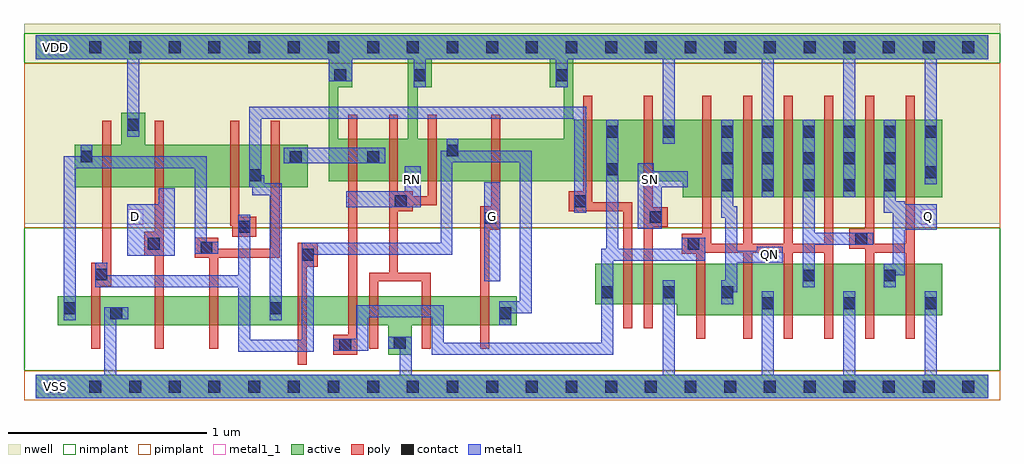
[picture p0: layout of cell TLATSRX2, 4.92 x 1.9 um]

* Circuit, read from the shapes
.subckt TLATSRX2 D G Q QN RN SN VDD VSS
M1 VSS n1 n2 VSS nfet w=0.145u l=0.045u
M2 n3 D VSS VSS nfet w=0.145u l=0.045u
M3 n4 n2 n3 VSS nfet w=0.145u l=0.045u
M4 n5 n1 n4 VSS nfet w=0.145u l=0.045u
M5 n6 n7 n5 VSS nfet w=0.145u l=0.045u
M6 VSS RN n6 VSS nfet w=0.145u l=0.045u
M7 n8 RN VSS VSS nfet w=0.145u l=0.045u
M8 n1 G n8 VSS nfet w=0.145u l=0.045u
M9 n9 n4 n7 VSS nfet w=0.205u l=0.045u
M10 VSS SN n9 VSS nfet w=0.205u l=0.045u
M11 QN n7 VSS VSS nfet w=0.26u l=0.045u m=2
M12 n10 n7 VSS VSS nfet w=0.26u l=0.045u m=2
M13 Q n10 VSS VSS nfet w=0.26u l=0.045u m=2
M14 VDD n1 n2 VDD pfet w=0.215u l=0.045u
M15 n11 D VDD VDD pfet w=0.215u l=0.045u
M16 n4 n1 n11 VDD pfet w=0.215u l=0.045u
M17 n12 n2 n4 VDD pfet w=0.215u l=0.045u
M18 n12 n7 VDD VDD pfet w=0.215u l=0.045u
M19 VDD RN n12 VDD pfet w=0.215u l=0.045u
M20 n1 RN VDD VDD pfet w=0.215u l=0.045u
M21 VDD G n1 VDD pfet w=0.215u l=0.045u
M22 n7 n4 VDD VDD pfet w=0.31u l=0.045u
M23 VDD SN n7 VDD pfet w=0.31u l=0.045u
M24 QN n7 VDD VDD pfet w=0.39u l=0.045u m=2
M25 n10 n7 VDD VDD pfet w=0.39u l=0.045u m=2
M26 Q n10 VDD VDD pfet w=0.39u l=0.045u m=2
.ends

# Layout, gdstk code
import gdstk
lib = gdstk.Library(unit=1e-6, precision=5e-10)
def R(c, l, rs):  # rectangles x0, y0, x1, y1
    for r in rs: c.add(gdstk.rectangle(r[:2], r[2:], *l))
def A(c, l, x, y, w, h, nx, ny, dx, dy):  # array of equal rectangles
    R(c, l, [(x+i*dx, y+j*dy, x+i*dx+w, y+j*dy+h) for i in range(nx) for j in range(ny)])
def P(c, l, *ps):  # polygons
    for p in ps: c.add(gdstk.Polygon(p, *l))
active = (1, 0)
nwell = (2, 0)
poly = (3, 0)
nimplant = (4, 0)
pimplant = (5, 0)
contact = (6, 0)
metal1 = (7, 0)
metal1_1 = (7, 1)

tlatsrx2 = lib.new_cell('TLATSRX2')
R(tlatsrx2, active, [(0,-0.06,4.8,0.06)])
P(tlatsrx2, active, [(0,1.77),(4.8,1.77),(4.8,1.65),(2.71,1.65),(2.71,1.345),(4.57,1.345),(4.57,0.955),(3.26,0.955),(3.26,1.035),(1.475,1.035),(1.475,1.65),(1.595,1.65),(1.595,1.51),(1.525,1.51),(1.525,1.25),(1.875,1.25),(1.875,1.65),(1.995,1.65),(1.995,1.51),(1.925,1.51),(1.925,1.25),(2.66,1.25),(2.66,1.51),(2.59,1.51),(2.59,1.65),(0,1.65)],
  [(0.43,1.38),(0.55,1.38),(0.55,1.22),(1.37,1.22),(1.37,1.005),(0.195,1.005),(0.195,1.22),(0.43,1.22)],
  [(0.11,0.455),(2.425,0.455),(2.425,0.31),(1.895,0.31),(1.895,0.16),(1.775,0.16),(1.775,0.31),(0.11,0.31)],
  [(2.82,0.62),(4.57,0.62),(4.57,0.36),(3.23,0.36),(3.23,0.415),(2.82,0.415)])
R(tlatsrx2, nwell, [(-0.06,0.82,4.86,1.83)])
P(tlatsrx2, poly, [(0.335,1.34),(0.38,1.34),(0.38,0.505),(0.325,0.505),(0.325,0.19),(0.28,0.19),(0.28,0.625),(0.335,0.625)],
  [(0.6,1.34),(0.645,1.34),(0.645,0.19),(0.6,0.19),(0.6,0.66),(0.545,0.66),(0.545,0.78),(0.6,0.78)],
  [(0.98,1.34),(1.025,1.34),(1.025,0.855),(1.11,0.855),(1.11,0.755),(0.99,0.755),(0.99,0.81),(0.98,0.81)],
  [(0.8,0.75),(0.92,0.75),(0.92,0.695),(1.185,0.695),(1.185,1.34),(1.23,1.34),(1.23,0.65),(0.92,0.65),(0.92,0.19),(0.875,0.19),(0.875,0.65),(0.8,0.65)],
  [(1.575,1.37),(1.62,1.37),(1.62,0.16),(1.5,0.16),(1.5,0.26),(1.575,0.26)],
  [(1.78,1.37),(1.825,1.37),(1.825,0.985),(1.9,0.985),(1.9,0.96),(1.975,0.96),(1.975,1.37),(2.02,1.37),(2.02,0.915),(1.9,0.915),(1.9,0.885),(1.825,0.885),(1.825,0.575),(1.99,0.575),(1.99,0.19),(1.945,0.19),(1.945,0.53),(1.725,0.53),(1.725,0.19),(1.68,0.19),(1.68,0.575),(1.78,0.575)],
  [(2.295,1.37),(2.34,1.37),(2.34,0.79),(2.285,0.79),(2.285,0.19),(2.24,0.19),(2.24,0.91),(2.295,0.91)],
  [(2.76,1.465),(2.805,1.465),(2.805,0.93),(3.005,0.93),(3.005,0.295),(2.96,0.295),(2.96,0.885),(2.685,0.885),(2.685,0.985),(2.76,0.985)],
  [(3.065,1.465),(3.11,1.465),(3.11,0.905),(3.185,0.905),(3.185,0.805),(3.11,0.805),(3.11,0.295),(3.065,0.295)],
  [(3.36,1.465),(3.405,1.465),(3.405,0.72),(3.565,0.72),(3.565,1.465),(3.61,1.465),(3.61,0.72),(3.77,0.72),(3.77,1.465),(3.815,1.465),(3.815,0.72),(3.975,0.72),(3.975,1.465),(4.02,1.465),(4.02,0.24),(3.975,0.24),(3.975,0.675),(3.815,0.675),(3.815,0.24),(3.77,0.24),(3.77,0.675),(3.61,0.675),(3.61,0.24),(3.565,0.24),(3.565,0.675),(3.375,0.675),(3.375,0.24),(3.33,0.24),(3.33,0.67),(3.255,0.67),(3.255,0.77),(3.36,0.77)],
  [(4.18,1.465),(4.225,1.465),(4.225,0.72),(4.385,0.72),(4.385,1.465),(4.43,1.465),(4.43,0.24),(4.385,0.24),(4.385,0.675),(4.225,0.675),(4.225,0.24),(4.18,0.24),(4.18,0.695),(4.1,0.695),(4.1,0.795),(4.18,0.795)],
  [(1.32,0.725),(1.42,0.725),(1.42,0.605),(1.365,0.605),(1.365,0.11),(1.32,0.11)])
R(tlatsrx2, nimplant, [(-0.06,0.08,4.86,0.8), (-0.06,1.63,4.86,1.78)])
R(tlatsrx2, pimplant, [(-0.06,-0.07,4.86,0.08), (-0.06,0.8,4.86,1.63)])
A(tlatsrx2, contact, 0.07, -0.03, 0.06, 0.06, 24, 2, 0.2, 1.71)
A(tlatsrx2, contact, 3.66, 0.39, 0.06, 0.06, 3, 1, 0.41, 0)
A(tlatsrx2, contact, 3.455, 0.985, 0.06, 0.06, 5, 2, 0.205, 0.135)
A(tlatsrx2, contact, 3.455, 1.255, 0.06, 0.06, 6, 1, 0.205, 0)
R(tlatsrx2, contact, [(1.53,0.18,1.59,0.24), (1.805,0.19,1.865,0.25), (0.375,0.34,0.435,0.4), (2.335,0.34,2.395,0.4), (0.14,0.365,0.2,0.425), (1.18,0.365,1.24,0.425), (2.85,0.445,2.91,0.505), (3.16,0.445,3.22,0.505), (3.455,0.445,3.515,0.505), (3.865,0.53,3.925,0.59), (4.275,0.53,4.335,0.59), (0.3,0.535,0.36,0.595), (1.34,0.635,1.4,0.695), (0.83,0.67,0.89,0.73), (0.565,0.69,0.625,0.75), (3.285,0.69,3.345,0.75), (4.13,0.715,4.19,0.775), (1.02,0.775,1.08,0.835), (2.26,0.82,2.32,0.88), (3.095,0.825,3.155,0.885), (1.81,0.905,1.87,0.965), (2.715,0.905,2.775,0.965), (1.075,1.035,1.135,1.095), (4.48,1.05,4.54,1.11), (2.875,1.065,2.935,1.125), (1.28,1.125,1.34,1.185), (1.67,1.125,1.73,1.185), (0.225,1.13,0.285,1.19), (2.07,1.16,2.13,1.22), (2.875,1.255,2.935,1.315), (3.16,1.255,3.22,1.315), (0.46,1.29,0.52,1.35), (1.505,1.54,1.565,1.6), (1.905,1.54,1.965,1.6), (2.62,1.54,2.68,1.6)])
R(tlatsrx2, metal1, [(2.26,0.53,2.34,1.03), (1.25,1.125,1.76,1.205)])
P(tlatsrx2, metal1, [(0,1.77),(4.8,1.77),(4.8,1.65),(4.54,1.65),(4.54,1.02),(4.48,1.02),(4.48,1.65),(4.13,1.65),(4.13,0.955),(4.07,0.955),(4.07,1.65),(3.72,1.65),(3.72,0.955),(3.66,0.955),(3.66,1.65),(3.22,1.65),(3.22,1.225),(3.16,1.225),(3.16,1.65),(2.68,1.65),(2.68,1.51),(2.62,1.51),(2.62,1.65),(1.965,1.65),(1.965,1.51),(1.905,1.51),(1.905,1.65),(1.595,1.65),(1.595,1.54),(1.475,1.54),(1.475,1.65),(0.52,1.65),(0.52,1.26),(0.46,1.26),(0.46,1.65),(0,1.65)],
  [(0.225,1.22),(0.285,1.22),(0.285,1.16),(0.86,1.16),(0.86,0.73),(0.92,0.73),(0.92,0.67),(0.8,0.67),(0.8,1.1),(0.2,1.1),(0.2,0.335),(0.14,0.335),(0.14,1.16),(0.225,1.16)],
  [(1.075,1.41),(2.775,1.41),(2.775,0.875),(2.715,0.875),(2.715,1.35),(1.135,1.35),(1.135,1.065),(1.15,1.065),(1.15,1.025),(1.24,1.025),(1.24,0.335),(1.18,0.335),(1.18,0.965),(1.09,0.965),(1.09,1.005),(1.075,1.005)],
  [(2.07,1.25),(2.13,1.25),(2.13,1.19),(2.5,1.19),(2.5,0.37),(2.395,0.37),(2.395,0.31),(2.335,0.31),(2.335,0.43),(2.44,0.43),(2.44,1.13),(2.1,1.13),(2.1,0.665),(1.4,0.665),(1.4,0.175),(1.02,0.175),(1.02,0.5),(0.3,0.5),(0.3,0.625),(0.36,0.625),(0.36,0.56),(1.02,0.56),(1.02,0.865),(1.08,0.865),(1.08,0.235),(1.34,0.235),(1.34,0.725),(2.04,0.725),(2.04,1.19),(2.07,1.19)],
  [(0.62,1),(0.7,1),(0.7,0.66),(0.46,0.66),(0.46,0.92),(0.62,0.92)],
  [(0.345,0.4),(0.465,0.4),(0.465,0.34),(0.405,0.34),(0.405,0.06),(1.835,0.06),(1.835,0.19),(1.775,0.19),(1.775,0.25),(1.895,0.25),(1.895,0.06),(3.16,0.06),(3.16,0.535),(3.22,0.535),(3.22,0.06),(3.66,0.06),(3.66,0.48),(3.72,0.48),(3.72,0.06),(4.07,0.06),(4.07,0.48),(4.13,0.48),(4.13,0.06),(4.48,0.06),(4.48,0.48),(4.54,0.48),(4.54,0.06),(4.8,0.06),(4.8,-0.06),(0,-0.06),(0,0.06),(0.345,0.06)],
  [(1.86,1.11),(1.94,1.11),(1.94,0.905),(1.565,0.905),(1.565,0.985),(1.86,0.985)],
  [(2.875,1.345),(2.935,1.345),(2.935,0.695),(3.255,0.695),(3.255,0.75),(3.375,0.75),(3.375,0.635),(2.91,0.635),(2.91,0.16),(1.995,0.16),(1.995,0.35),(1.675,0.35),(1.675,0.18),(1.5,0.18),(1.5,0.24),(1.615,0.24),(1.615,0.41),(2.055,0.41),(2.055,0.22),(2.85,0.22),(2.85,0.695),(2.875,0.695)],
  [(3.455,1.345),(3.515,1.345),(3.515,0.91),(3.535,0.91),(3.535,0.685),(3.635,0.685),(3.635,0.705),(3.765,0.705),(3.765,0.625),(3.535,0.625),(3.535,0.475),(3.515,0.475),(3.515,0.415),(3.455,0.415),(3.455,0.535),(3.475,0.535),(3.475,0.85),(3.455,0.85)],
  [(3.035,1.125),(3.115,1.125),(3.115,1.085),(3.285,1.085),(3.285,1.005),(3.155,1.005),(3.155,0.795),(3.035,0.795)],
  [(3.865,1.345),(3.925,1.345),(3.925,0.775),(4.22,0.775),(4.22,0.715),(3.925,0.715),(3.925,0.5),(3.865,0.5)],
  [(4.275,1.345),(4.335,1.345),(4.335,0.935),(4.38,0.935),(4.38,0.92),(4.54,0.92),(4.54,0.79),(4.38,0.79),(4.38,0.56),(4.335,0.56),(4.335,0.5),(4.275,0.5),(4.275,0.62),(4.32,0.62),(4.32,0.875),(4.275,0.875)])
R(tlatsrx2, metal1_1, [(0.06,-0.04,0.14,0.04), (3.66,0.625,3.74,0.705), (0.46,0.815,0.54,0.895), (2.26,0.815,2.34,0.895), (4.46,0.815,4.54,0.895), (1.86,1.005,1.94,1.085), (3.06,1.005,3.14,1.085), (0.06,1.67,0.14,1.75)])
tlatsrx2.add(gdstk.Label('Q', (4.5,0.855), layer=7, texttype=1))
tlatsrx2.add(gdstk.Label('QN', (3.7,0.665), layer=7, texttype=1))
tlatsrx2.add(gdstk.Label('SN', (3.1,1.045), layer=7, texttype=1))
tlatsrx2.add(gdstk.Label('RN', (1.9,1.045), layer=7, texttype=1))
tlatsrx2.add(gdstk.Label('D', (0.5,0.855), layer=7, texttype=1))
tlatsrx2.add(gdstk.Label('G', (2.3,0.855), layer=7, texttype=1))
tlatsrx2.add(gdstk.Label('VDD', (0.1,1.71), layer=7, texttype=1))
tlatsrx2.add(gdstk.Label('VSS', (0.1,0), layer=7, texttype=1))
tlatsrx2.add(gdstk.Label('TLATSRX2', (0,0), layer=63, texttype=0))

lib.write_gds('TLATSRX2.gds')
